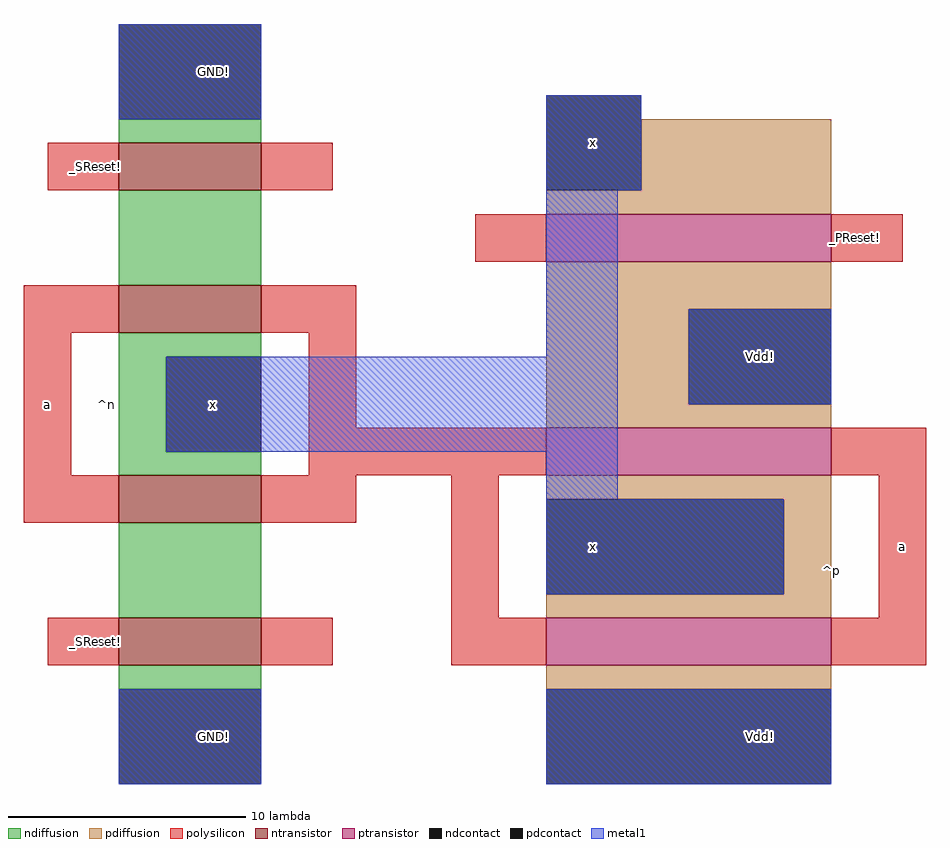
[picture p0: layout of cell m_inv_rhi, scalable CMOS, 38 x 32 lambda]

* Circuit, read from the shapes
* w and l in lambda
.subckt m_inv_rhi GND! Vdd! _PReset! _SReset! a x
M1 n1 _SReset! GND! VSUBS nfet w=6 l=2
M2 x a n1 VSUBS nfet w=6 l=2
M3 n2 a x VSUBS nfet w=6 l=2
M4 GND! _SReset! n2 VSUBS nfet w=6 l=2
M5 x a Vdd! NWELL pfet w=12 l=2 m=2
M6 x _PReset! Vdd! NWELL pfet w=12 l=2
.ends

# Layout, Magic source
magic
tech scmos
<< ndiffusion >>
rect 93 48 99 49
rect 93 42 99 46
rect 93 39 99 40
rect 93 35 95 39
rect 93 34 99 35
rect 93 28 99 32
rect 93 25 99 26
<< pdiffusion >>
rect 115 46 123 49
rect 111 45 123 46
rect 111 41 123 43
rect 111 37 117 41
rect 111 36 123 37
rect 111 33 123 34
rect 121 29 123 33
rect 111 28 123 29
rect 111 25 123 26
<< ntransistor >>
rect 93 46 99 48
rect 93 40 99 42
rect 93 32 99 34
rect 93 26 99 28
<< ptransistor >>
rect 111 43 123 45
rect 111 34 123 36
rect 111 26 123 28
<< polysilicon >>
rect 90 46 93 48
rect 99 46 102 48
rect 108 43 111 45
rect 123 43 126 45
rect 89 40 93 42
rect 99 40 103 42
rect 89 34 91 40
rect 101 36 103 40
rect 101 34 111 36
rect 123 34 127 36
rect 89 32 93 34
rect 99 32 103 34
rect 107 28 109 34
rect 125 28 127 34
rect 90 26 93 28
rect 99 26 102 28
rect 107 26 111 28
rect 123 26 127 28
<< ndcontact >>
rect 93 49 99 53
rect 95 35 99 39
rect 93 21 99 25
<< pdcontact >>
rect 111 46 115 50
rect 117 37 123 41
rect 111 29 121 33
rect 111 21 123 25
<< metal1 >>
rect 93 49 99 53
rect 111 46 115 50
rect 111 39 114 46
rect 95 35 114 39
rect 117 37 123 41
rect 111 33 114 35
rect 111 29 121 33
rect 93 21 99 25
rect 111 21 123 25
<< labels >>
rlabel polysilicon 92 27 92 27 3 _SReset!
rlabel polysilicon 92 47 92 47 3 _SReset!
rlabel space 89 20 96 54 7 ^n
rlabel space 119 20 127 40 3 ^p
rlabel polysilicon 90 37 90 37 3 a
rlabel polysilicon 126 31 126 31 7 a
rlabel polysilicon 124 44 124 44 1 _PReset!
rlabel ndcontact 97 37 97 37 1 x
rlabel ndcontact 97 23 97 23 1 GND!
rlabel ndcontact 97 51 97 51 5 GND!
rlabel pdcontact 113 31 113 31 1 x
rlabel pdcontact 120 39 120 39 5 Vdd!
rlabel pdcontact 120 23 120 23 1 Vdd!
rlabel pdcontact 113 48 113 48 5 x
<< end >>
